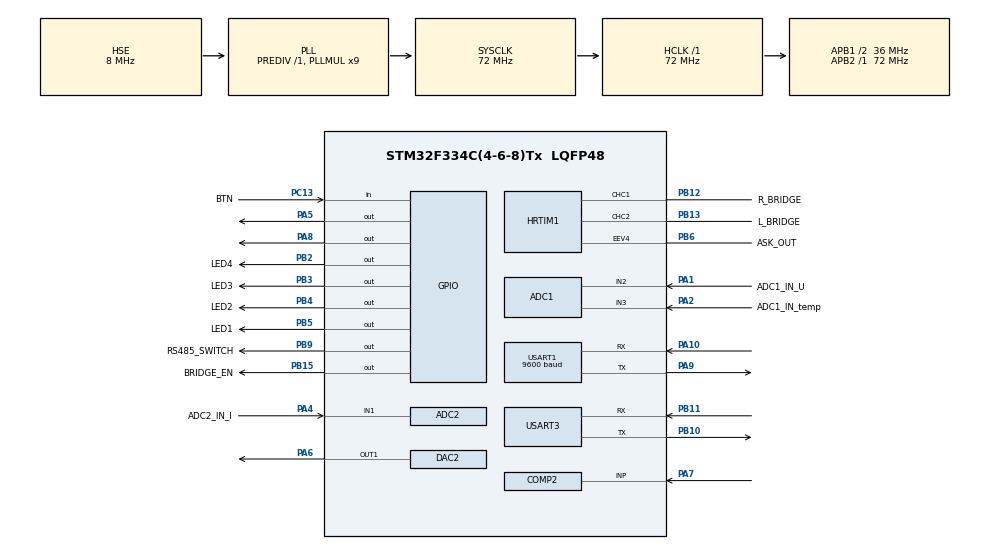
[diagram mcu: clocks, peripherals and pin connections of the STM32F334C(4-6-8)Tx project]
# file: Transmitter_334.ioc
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ADC1.Channel-0\#ChannelRegularConversion=ADC_CHANNEL_2
ADC1.Channel-1\#ChannelRegularConversion=ADC_CHANNEL_3
ADC1.ClockPrescaler=ADC_CLOCK_SYNC_PCLK_DIV1
ADC1.EnableInjectedConversion=DISABLE
ADC1.Mode=ADC_DUALMODE_REGSIMULT
ADC1.NbrOfConversion=2
ADC1.NbrOfConversionFlag=1
ADC1.Offset-0\#ChannelRegularConversion=0
ADC1.Offset-1\#ChannelRegularConversion=0
ADC1.OffsetNumber-0\#ChannelRegularConversion=ADC_OFFSET_NONE
ADC1.OffsetNumber-1\#ChannelRegularConversion=ADC_OFFSET_NONE
ADC1.Rank-0\#ChannelRegularConversion=1
ADC1.Rank-1\#ChannelRegularConversion=2
ADC1.SamplingTime-0\#ChannelRegularConversion=ADC_SAMPLETIME_7CYCLES_5
ADC1.SamplingTime-1\#ChannelRegularConversion=ADC_SAMPLETIME_7CYCLES_5
ADC1.SamplingTimeOPAMP-1\#ChannelRegularConversion=ADC_SAMPLETIME_7CYCLES_5
ADC1.SequencerNbRanks=0
ADC1.SubFamily=STM32F334x8
ADC1.master=1
ADC2.Channel-0\#ChannelRegularConversion=ADC_CHANNEL_1
ADC2.ClockPrescaler=ADC_CLOCK_SYNC_PCLK_DIV1
ADC2.EnableAnalogWatchDog1=false
ADC2.EnableInjectedConversion=DISABLE
ADC2.Mode=ADC_DUALMODE_REGSIMULT
ADC2.NbrOfConversion=1
ADC2.NbrOfConversionFlag=1
ADC2.Offset-0\#ChannelRegularConversion=0
ADC2.OffsetNumber-0\#ChannelRegularConversion=ADC_OFFSET_NONE
ADC2.Rank-0\#ChannelRegularConversion=1
ADC2.SamplingTime-0\#ChannelRegularConversion=ADC_SAMPLETIME_7CYCLES_5
ADC2.SequencerNbRanks=0
ADC2.SubFamily=STM32F334x8
COMP2.InvertingInput=COMP_INVERTINGINPUT_DAC2_CH1
COMP2.TriggerMode=COMP_TRIGGERMODE_IT_RISING
Dma.ADC1.1.Direction=DMA_PERIPH_TO_MEMORY
Dma.ADC1.1.Instance=DMA1_Channel1
Dma.ADC1.1.MemDataAlignment=DMA_MDATAALIGN_WORD
Dma.ADC1.1.MemInc=DMA_MINC_ENABLE
Dma.ADC1.1.Mode=DMA_NORMAL
Dma.ADC1.1.PeriphDataAlignment=DMA_PDATAALIGN_WORD
Dma.ADC1.1.PeriphInc=DMA_PINC_DISABLE
Dma.ADC1.1.Priority=DMA_PRIORITY_LOW
Dma.Request0=USART1_RX
Dma.Request1=ADC1
Dma.USART1_RX.0.Direction=DMA_PERIPH_TO_MEMORY
Dma.USART1_RX.0.Instance=DMA1_Channel5
Dma.USART1_RX.0.MemDataAlignment=DMA_MDATAALIGN_BYTE
Dma.USART1_RX.0.MemInc=DMA_MINC_ENABLE
Dma.USART1_RX.0.Mode=DMA_CIRCULAR
Dma.USART1_RX.0.PeriphDataAlignment=DMA_PDATAALIGN_BYTE
Dma.USART1_RX.0.PeriphInc=DMA_PINC_DISABLE
Dma.USART1_RX.0.Priority=DMA_PRIORITY_LOW
HRTIM1.CalibrationRate_nonIT=HRTIM_SINGLE_CALIBRATION
HRTIM1.CaptureUnit1-No_output_TA=HRTIM_CAPTUREUNIT_1
HRTIM1.CompareUnit1-Output_TC1TC2=HRTIM_COMPAREUNIT_1
HRTIM1.Event_EEV1=__NULL
HRTIM1.Event_EEV2=__NULL
HRTIM1.Event_EEV3=__NULL
HRTIM1.Event_EEV5=__NULL
HRTIM1.Event_EEV6=__NULL
HRTIM1.HalfModeEnable-Output_TC1TC2=HRTIM_HALFMODE_ENABLED
HRTIM1.InterruptRequests1-No_output_TA=HRTIM_TIM_IT_CPT1
HRTIM1.InterruptRequests1-Output_TC1TC2=HRTIM_TIM_IT_UPD
HRTIM1.ModeTimeBase-No_output_TA=HRTIM_MODE_CONTINUOUS
HRTIM1.NumberInterruptRequests-No_output_TA=1
HRTIM1.NumberInterruptRequests-Output_TC1TC2=1
HRTIM1.NumberResetSource1-Output_TC1TC2=1
HRTIM1.NumberResetSource2_TC=1
HRTIM1.NumberResetTrigger-No_output_TA=1
HRTIM1.NumberResetTrigger-Output_TC1TC2=1
HRTIM1.NumberSetSource1-Output_TC1TC2=1
HRTIM1.NumberSetSource2_TC=1
HRTIM1.NumberTriggerSource_Captureconfig1-No_output_TA=1
HRTIM1.Periode_TC=0x7000
HRTIM1.Polarity2-Output_TC1TC2=HRTIM_OUTPUTPOLARITY_LOW
HRTIM1.PreloadEnable-Output_TC1TC2=HRTIM_PRELOAD_ENABLED
HRTIM1.PrescalerRatio_TA=HRTIM_PRESCALERRATIO_DIV4
HRTIM1.PrescalerRatio_TC=HRTIM_PRESCALERRATIO_MUL32
HRTIM1.RepetitionCounter-Output_TC1TC2=255
HRTIM1.RepetitionUpdate-Output_TC1TC2=HRTIM_UPDATEONREPETITION_ENABLED
HRTIM1.ResetOutput1_Source1-Output_TC1TC2=HRTIM_OUTPUTRESET_TIMPER
HRTIM1.ResetOutput2_Source1-Output_TC1TC2=HRTIM_OUTPUTRESET_TIMPER
HRTIM1.ResetTrigger1-No_output_TA=HRTIM_TIMRESETTRIGGER_EEV_4
HRTIM1.ResetTrigger1-Output_TC1TC2=HRTIM_TIMRESETTRIGGER_UPDATE
HRTIM1.Sensitivity_EEV4=HRTIM_EVENTSENSITIVITY_BOTHEDGES
HRTIM1.SetOutput1_Source1-Output_TC1TC2=HRTIM_OUTPUTSET_TIMCMP1
HRTIM1.SetOutput2_Source1-Output_TC1TC2=HRTIM_OUTPUTSET_TIMCMP1
HRTIM1.TriggerCapture1_Source1-No_output_TA=HRTIM_CAPTURETRIGGER_EEV_4
Mcu.Family=STM32F3
Mcu.Name=STM32F334C(4-6-8)Tx
Mcu.Package=LQFP48
NVIC.COMP2_IRQn=true\:0\:0\:false\:false\:true\:false\:true\:true
NVIC.DMA1_Channel1_IRQn=true\:0\:0\:false\:false\:true\:false\:true\:true
NVIC.DMA1_Channel5_IRQn=true\:0\:0\:false\:false\:true\:false\:true\:true
NVIC.HRTIM1_TIMA_IRQn=true\:1\:0\:true\:false\:true\:true\:true\:true
NVIC.HRTIM1_TIMC_IRQn=true\:0\:0\:false\:false\:true\:true\:true\:true
NVIC.PriorityGroup=NVIC_PRIORITYGROUP_4
NVIC.TIM6_DAC1_IRQn=true\:0\:0\:false\:false\:true\:true\:true\:true
NVIC.TIM7_DAC2_IRQn=true\:0\:0\:false\:false\:true\:true\:true\:true
NVIC.USART1_IRQn=true\:5\:0\:true\:false\:true\:true\:true\:true
PA1.GPIO_Label=ADC1_IN_U
PA1.Mode=IN2-Single-Ended
PA1.Signal=ADC1_IN2
PA10.GPIO_PuPd=GPIO_PULLUP
PA10.Mode=Asynchronous
PA10.Signal=USART1_RX
PA13.Mode=Serial_Wire
PA13.Signal=SYS_JTMS-SWDIO
PA14.Mode=Serial_Wire
PA14.Signal=SYS_JTCK-SWCLK
PA2.GPIO_Label=ADC1_IN_temp
PA2.Mode=IN3-Single-Ended
PA2.Signal=ADC1_IN3
PA4.GPIO_Label=ADC2_IN_I
PA4.Mode=IN1-Single-Ended
PA4.Signal=ADC2_IN1
PA5.Signal=GPIO_Output
PA6.Signal=COMP_DAC21_group
PA7.Signal=SharedAnalog_PA7
PA8.Signal=GPIO_Output
PA9.GPIO_PuPd=GPIO_PULLUP
PA9.Mode=Asynchronous
PA9.Signal=USART1_TX
PB10.GPIO_PuPd=GPIO_PULLUP
PB10.Mode=Asynchronous
PB10.Signal=USART3_TX
PB11.GPIO_PuPd=GPIO_PULLUP
PB11.Mode=Asynchronous
PB11.Signal=USART3_RX
PB12.GPIO_Label=R_BRIDGE
PB12.Mode=Output_TC1TC2
PB12.Signal=HRTIM1_CHC1
PB13.GPIO_Label=L_BRIDGE
PB13.Mode=Output_TC1TC2
PB13.Signal=HRTIM1_CHC2
PB15.GPIO_Label=BRIDGE_EN
PB15.GPIO_Speed=GPIO_SPEED_FREQ_HIGH
PB15.Signal=GPIO_Output
PB2.GPIO_Label=LED4
PB2.Signal=GPIO_Output
PB3.GPIO_Label=LED3
PB3.Signal=GPIO_Output
PB4.GPIO_Label=LED2
PB4.Signal=GPIO_Output
PB5.GPIO_Label=LED1
PB5.Signal=GPIO_Output
PB6.GPIO_Label=ASK_OUT
PB6.GPIO_PuPd=GPIO_PULLDOWN
PB6.Mode=External_Evt_enable4
PB6.Signal=HRTIM1_EEV4
PB9.GPIO_Label=RS485_SWITCH
PB9.Signal=GPIO_Output
PC13.GPIO_Label=BTN
PC13.GPIO_PuPd=GPIO_PULLUP
PC13.Signal=GPIO_Input
PF0\ /\ OSC_IN.Mode=HSE-External-Oscillator
PF0\ /\ OSC_IN.Signal=RCC_OSC_IN
PF1\ /\ OSC_OUT.Mode=HSE-External-Oscillator
PF1\ /\ OSC_OUT.Signal=RCC_OSC_OUT
ProjectManager.HeapSize=0x200
ProjectManager.StackSize=0x400
ProjectManager.TargetToolchain=MDK-ARM V5.32
RCC.AHBFreq_Value=72000000
RCC.APB1CLKDivider=RCC_HCLK_DIV2
RCC.APB1Freq_Value=36000000
RCC.APB1TimFreq_Value=72000000
RCC.APB2Freq_Value=72000000
RCC.APB2TimFreq_Value=72000000
RCC.CortexFreq_Value=72000000
RCC.HCLKFreq_Value=72000000
RCC.HRTIMSelection=RCC_HRTIM1CLK_PLLCLK
RCC.HSE_VALUE=8000000
RCC.HSI_VALUE=8000000
RCC.LSE_VALUE=32768
RCC.PLLMUL=RCC_PLL_MUL9
RCC.PLLSourceVirtual=RCC_PLLSOURCE_HSE
RCC.SYSCLKFreq_VALUE=72000000
RCC.SYSCLKSourceVirtual=RCC_SYSCLKSOURCE_PLLCLK
SH.COMP_DAC21_group.0=DAC2_OUT1,Switch_Enable_OUT1
SH.SharedAnalog_PA7.0=ADC2_IN4
SH.SharedAnalog_PA7.1=COMP2_INP,INP
TIM6.Period=240
TIM6.Prescaler=0
USART1.BaudRate=9600
USART1.OverSampling=UART_OVERSAMPLING_16
USART1.VirtualMode-Asynchronous=VM_ASYNC
USART3.VirtualMode-Asynchronous=VM_ASYNC
VP_COMP2_VS_DAC2OUT1.Mode=INM_DAC2OUT1
VP_HRTIM1_VS_hrtimMasterTimerNoOutput.Mode=MasterTimer
VP_HRTIM1_VS_hrtimTimerANoOutput.Mode=No_output_TA
VP_TIM6_VS_ClockSourceINT.Mode=Enable_Timer
board=custom

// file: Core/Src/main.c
/* USER CODE BEGIN Header */
/**
  ******************************************************************************
  * @file           : main.c
  * @brief          : Main program body
  ******************************************************************************
  * @attention
  *
  * Copyright (c) 2023 STMicroelectronics.
  * All rights reserved.
  *
  * This software is licensed under terms that can be found in the LICENSE file
  * in the root directory of this software component.
  * If no LICENSE file comes with this software, it is provided AS-IS.
  *
  ******************************************************************************
  */
/* USER CODE END Header */
#include "main.h"
#include "adc.h"
#include "comp.h"
#include "dac.h"
#include "dma.h"
#include "hrtim.h"
#include "tim.h"
#include "usart.h"
#include "gpio.h"

/* USER CODE BEGIN Includes */
#include "stdbool.h"
#include "qi_transmitter.h"
#include "stdio.h"
#include "string.h"
#include "meas.h"
#include "queue.h"
/* USER CODE END Includes */

/* USER CODE BEGIN PTD */

typedef struct {float op_frequency;float op_period;uint32_t op_period_in_ticks; uint32_t mod_period_in_ticks;bool gate_signals;}op_values;
enum OPERATION_STATES { INITIAL_STATE = 1, ANALOG_PING = 2, DIGITAL_PING = 3, COMM_ONLY_STATE = 4, RENEGO_STATE = 5, POWER_TRANSFER_STATE = 6, FAULT_STATE = 7 };

/* USER CODE END PTD */

/* USER CODE BEGIN PD */
#define HRTIM_RESOLUTION 217 //in [ps], used in ChangeFrequency
//#define TICKS_DELTA_MODULATION (uint32_t) (260000/HRTIM_RESOLUTION) //260 ns
#define TICKS_DELTA_MODULATION 375 //750//nejlip 1500//1200 //10000 //1200 //test value --> 260 ns
#define ANALOG_PING_FREQUENCY 170//192 // kHz --> freq. corresponding to the min. power level
#define DBG_MSG_SIZE 1
#define MAX_FREQUENCY 235.97//200 // 5us
#define PING_IMP_FREQUENCY 228.97
#define MIN_FREQUENCY 160.26//168
#define DAC_TRESHOLD  2900u//2680u //odpovídá 1.2 A
#define DBG_UART_MSG_SIZE 88

#define LED1 GPIO_PIN_5 //B
#define LED2 GPIO_PIN_4 //B
#define LED3 GPIO_PIN_3 //B
#define LED4 GPIO_PIN_2 //B
#define PID_ITERATIONS 5
#define T_DELAY 100
#define T_DETECT 70
#define T_REPING 1500
/* USER CODE END PD */

/* USER CODE BEGIN PV */

uint32_t hal_tick;
bool one_ms;
unsigned int test_increment;
bool new_dbg_uart_msg;
//unsigned char FSK_index;

//char DBG_UART_buffer[50];
//char DBG_UART_buffer[100];

//ADC
uint8_t MEAS_ACD1_update;
//extern float adcf[MEAS_ADC1_CHANNELS];  //---------------------ZBYTECNE
//uint8_t ubAnalogWatchdogStatus = RESET;
measured_values act_vals;
//DAC
bool comp_treshold = false;
//test adc
bool run_test = false;
//mereni
//float current_values[NUMBER_OF_MES];  //---------------------ZBYTECNE
//analog ping
bool analog_ping_done = false;
char analog_ping_counter = 0;
bool analog_ping_measure = false;
//char analog_ping_counter = 0;
float K_p=9.;//37.;
float K_i=3.; //6.;
float K_d=0;
uint8_t current_ASK_msg_size=3; //minimal size
uint8_t ASK_msg_position=0;
uint16_t ASK_byte_main;
uint8_t error_type=0;
bool FSK_interrupt=false;
bool new_FSK=false;
uint16_t FSK_size;
bool serialized_data_FSK[MAX_DATA_PACKET_SIZE_FSK];
uint8_t last_message=0;
/* USER CODE END PV */

void SystemClock_Config(void);
/* USER CODE BEGIN PFP */
static void ChangeOPFrequency(float frequency,op_values *current_op); // function that changes the frequency of HRTIM output
static void StartInverter(op_values *current_op);
static void StopInverter(op_values *current_op);
void ModulateFrequency(op_values *current_op);
void AnalogPing(op_values *current_op);
void StartDemodulator(void);
//float regulatePower(uint8_t u_control_error,op_values *current_op);
/* USER CODE END PFP */

/* USER CODE BEGIN 0 */
uint8_t Rx_data[1];
void HAL_UART_RxHalfCpltCallback(UART_HandleTypeDef *huart)
{
 // HAL_GPIO_TogglePin (GPIOB, GPIO_PIN_3);  // toggle PA0
}
void HAL_UART_RxCpltCallback(UART_HandleTypeDef *huart)
{
  HAL_UART_Receive_DMA(&huart1, Rx_data, DBG_MSG_SIZE);
	new_dbg_uart_msg=true;
}
void HAL_ADC_ConvCpltCallback(ADC_HandleTypeDef* hadc);
void HAL_ADC_ConvHalfCpltCallback(ADC_HandleTypeDef* hadc);

void HAL_TIM_PeriodElapsedCallback(TIM_HandleTypeDef *htim)
{
  if (htim->Instance == TIM6 && analog_ping_measure)
  {
    // Toggle LED
    if (analog_ping_counter==1)
		{
			//HAL_GPIO_TogglePin(GPIOB,GPIO_PIN_9);
			MEAS_ADC_start(5u,0);

			//HAL_TIM_Base_Stop_IT(&htim6);

		} else if (analog_ping_counter==14){
			analog_ping_done=true;
			//HAL_GPIO_TogglePin(GPIOB,GPIO_PIN_9);
			HAL_GPIO_WritePin(GPIOB,GPIO_PIN_15,GPIO_PIN_RESET);
			HAL_TIM_Base_Stop_IT(&htim6);
			//HAL_GPIO_TogglePin(GPIOA,GPIO_PIN_5);
			analog_ping_measure=false;
		}
		analog_ping_counter++;

  }
}
//void HAL_TIM_Base_Start_IT()
/* USER CODE END 0 */

int main(void)
{

  /* MCU Configuration--------------------------------------------------------*/

  /* Reset of all peripherals, Initializes the Flash interface and the Systick. */
  HAL_Init();

  /* Configure the system clock */
  SystemClock_Config();

  /* Initialize all configured peripherals */
  MX_GPIO_Init();
  MX_DMA_Init();
  MX_HRTIM1_Init();
  MX_ADC1_Init();
  MX_ADC2_Init();
  MX_DAC2_Init();
  MX_USART1_UART_Init();
  MX_USART3_UART_Init();
  MX_COMP2_Init();
  MX_TIM6_Init();
  /* USER CODE BEGIN 2 */
	op_values current_op;
	//DAC
	//HAL_DAC_Start(&hdac2, DAC_CHANNEL_1); //HAZELO TO FURT ERRORY
	//HAL_DAC_SetValue(&hdac2, DAC_CHANNEL_1, DAC_ALIGN_12B_R,DAC_TRESHOLD); //HAZELO TO FURT ERRORY
  /* USER CODE END 2 */

  /* Infinite loop */
  /* USER CODE BEGIN WHILE */
	/* Start the SYSTICK variable*/
	//hal_tick = HAL_GetTick();
	test_increment=0;
	one_ms=true;
	unsigned int number_of_ms=0;
	bool button = false;
	char button_increment=0;
	new_dbg_uart_msg = false;
	HAL_UART_Receive_DMA (&huart1, Rx_data, DBG_MSG_SIZE);  // Receive 4 Bytes of data
	ChangeOPFrequency((float)222.29,&current_op); // set the Operating state to minimal power with PING IMPEDANCE connected
	//ADC
	HAL_ADCEx_Calibration_Start(&hadc1,ADC_SINGLE_ENDED);
	HAL_ADCEx_Calibration_Start(&hadc2,ADC_SINGLE_ENDED);
	HAL_Delay(10);
	MEAS_ADC_start(1,2); // start the ADC conversion
	//DAC
	//mereni
	unsigned int meas_increment = 0;
	float sum_current = 0.;
	//HAL_COMP_Start_IT(&hcomp2); ////HAZELO TO FURT ERRORY
	//timer pro analog ping
	HAL_TIM_Base_Init(&htim6);

	//TEST BEZ UARTU
	StartInverter(&current_op);
	HAL_Delay(10);
	HAL_GPIO_WritePin(GPIOB,GPIO_PIN_15,GPIO_PIN_RESET);
	//KONEC TESTU
	//ASK modulace
	HAL_HRTIM_WaveformCountStart(&hhrtim1, HRTIM_TIMERID_TIMER_A);
	HAL_HRTIM_WaveformCountStart_IT(&hhrtim1, HRTIM_TIMERID_TIMER_A);
	extern bool ASK_error;
	extern bool ASK_byte_done;
	DecodedDataPacket ASK_packet;
	//HAL_GPIO_WritePin(GPIOA,GPIO_PIN_5,GPIO_PIN_SET); //debug
	char DBG_UART_buffer[DBG_UART_MSG_SIZE];
	//char DBG_UART_buffer2[30];
	//debug
	uint8_t test_byte_ASK;
	bool ASK_msg_done=false;
	//pid
	bool pid_enable;
	uint8_t pid_iteration=0;
	int8_t s_control_error; //signed value
	float td_j; //calculated new current throufh primary cell
	float e_ji; //error of regulation
	float e_ji_prev;
	float i_sum;
	float i_sum_prev;
	uint8_t error_code=0;
	//float pid;
	float new_freq;
	float e_i[PID_ITERATIONS];
	extern bool preamble_done;
	extern uint8_t preamble_ones;
	uint8_t byte_counter=0;
	uint16_t bytes[3]={0,0,0};

	bool first_half_FSK=true;
	bool* FSK_byte;
	uint8_t FSK_index = 0;
	bool ce_timeout=false;
	uint8_t current_state=INITIAL_STATE;
	uint16_t ping_timeout=0;
	uint8_t test_FSK_byte=0;
	Queue FSK_Queue;
	DataPacketFSK data_packet_FSK;
	data_packet_FSK.message_length=1;
	queue_init(&FSK_Queue);
	uint16_t ack_timeout = 0;
	bool expecting_ack=false;
	bool user_data_input=false;
	bool print_ce=false;
	bool no_mute=true;
	bool repeating_msg=false;
	//unsigned char test_byte=0x01;
	//test
	//ASK_byte=
	//error_type=demodulateAskByte(ASK_byte,ASK_packet,ASK_msg_position);

  while (1){
    /* USER CODE END WHILE */

    /* USER CODE BEGIN 3 */
		if (FSK_interrupt){
			//ModulateFrequency(&current_op);
			if (first_half_FSK){
				ModulateFrequency(&current_op);
			}else{
				if (serialized_data_FSK[FSK_index]){
					ModulateFrequency(&current_op);
				}
				if (FSK_index>=FSK_size){
					FSK_index=0;
					new_FSK=false;
				} else{
					FSK_index++;
				}
			}
			first_half_FSK=!first_half_FSK;
			FSK_interrupt=false;
		}
		if (analog_ping_done){
				analog_ping_done=false;
				//HAL_Delay(1);
				if (act_vals.current>0.1){ // change the value
					//receiver_detected
					current_state=DIGITAL_PING;
					ChangeOPFrequency((float)PING_IMP_FREQUENCY,&current_op);
					ping_timeout=0;
					HAL_Delay(50);
					sprintf(DBG_UART_buffer,"R detected\r\n");
					HAL_UART_Transmit_IT(&huart1, (uint8_t *)DBG_UART_buffer, strlen(DBG_UART_buffer));
					StartInverter(&current_op);
					HAL_GPIO_WritePin(GPIOB,GPIO_PIN_15,GPIO_PIN_SET);
					number_of_ms=0;
				} else {
					ping_timeout=0;
					sprintf(DBG_UART_buffer,"R not detected.\r\n");
					HAL_UART_Transmit_IT(&huart1, (uint8_t *)DBG_UART_buffer, strlen(DBG_UART_buffer));

				}
		}
		if (comp_treshold){
			HAL_GPIO_WritePin(GPIOB,GPIO_PIN_15,GPIO_PIN_RESET);
			comp_treshold=false;
			error_code=0x05;

			current_state=ANALOG_PING;
			HAL_Delay(20);
			sprintf(DBG_UART_buffer,"Overcurrent! Switching off!\r\n");
			HAL_UART_Transmit_IT(&huart1, (uint8_t *)DBG_UART_buffer, strlen(DBG_UART_buffer));
			HAL_Delay(30);

		}
		if (ASK_byte_done){
			ASK_byte_done=false;
			error_type=demodulateAskByte(ASK_byte_main,&ASK_packet,ASK_msg_position);
			//HAL_GPIO_TogglePin(GPIOB,GPIO_PIN_9);
			if (ASK_msg_position==3){//current_ASK_msg_size){ //length of CE data packet
				ASK_msg_position=0;
				ASK_msg_done=true;
			}
			if (error_type==0){ //no error
				/*if (ASK_msg_position==1){
					current_ASK_msg_size=1+ASK_packet.message_length+1;
				}*/
			} else{
				ASK_error=true;
			}
			if (ASK_msg_done){
				if (error_type!=0){
					if (ASK_packet.header!=0x03){
						sprintf(DBG_UART_buffer,"H:%u\r\nM:%u\r\nEM:%d\r\n",ASK_packet.header,ASK_packet.message[0],error_type);
						HAL_UART_Transmit_IT(&huart1, (uint8_t *)DBG_UART_buffer, strlen(DBG_UART_buffer));
						}
					//HAL_Delay(50);
				} else{
					//sprintf(DBG_UART_buffer,"H:%u\r\nM:%u\r\n",ASK_packet.header,ASK_packet.message[0]);
					//HAL_UART_Transmit_IT(&huart1, (uint8_t *)DBG_UART_buffer, strlen(DBG_UART_buffer));
					//HAL_Delay(50);
				}
				//PID
				if (ASK_packet.header==0x04){ //RP packet
					if (!queue_is_empty(&FSK_Queue)){
						serialize_response_pattern(0b11001100,serialized_data_FSK); //ATN
						FSK_size=8;
						sprintf(DBG_UART_buffer,"sending ATN\r\n");
						HAL_UART_Transmit_IT(&huart1, (uint8_t *)DBG_UART_buffer, strlen(DBG_UART_buffer));
						HAL_Delay(1);
						new_FSK=true;
					} else {
						serialize_response_pattern(0b11111111,serialized_data_FSK); //ACK
						FSK_size=8;
						if (no_mute){
						sprintf(DBG_UART_buffer,"RP received. Sending ACK\r\n");
						HAL_UART_Transmit_IT(&huart1, (uint8_t *)DBG_UART_buffer, strlen(DBG_UART_buffer));
						}
						HAL_Delay(1);
						new_FSK=true;

					}
				} else if (ASK_packet.header==0x15){ //incomming data
						if (ASK_packet.message[0]==0x33){
							if (queue_dequeue(&FSK_Queue,&data_packet_FSK)){
								serialize_data_packet(data_packet_FSK,serialized_data_FSK);
								FSK_size=get_data_packet_size(data_packet_FSK);
								sprintf(DBG_UART_buffer,"DSR: poll -> sending user data %u\r\n", test_FSK_byte);
								HAL_UART_Transmit_IT(&huart1, (uint8_t *)DBG_UART_buffer, strlen(DBG_UART_buffer));
								HAL_Delay(1);
								ack_timeout=0;
								expecting_ack=true;
								new_FSK=true;
							}
						} else if (ASK_packet.message[0]==0xFF){
								sprintf(DBG_UART_buffer,"DSR: ack -> Receiver received the data.\r\n");
								HAL_UART_Transmit_IT(&huart1, (uint8_t *)DBG_UART_buffer, strlen(DBG_UART_buffer));
								ack_timeout=0;
								expecting_ack=false;
								repeating_msg=false;
								HAL_Delay(1);
						} else if (ASK_packet.message[0]==0x00){
								sprintf(DBG_UART_buffer,"DSR: nak -> repeating msg.\r\n");
								if (repeating_msg){
								sprintf(DBG_UART_buffer,"DSR: nak -> Receiver not acknowledged. User data enqued.\r\n");
								ack_timeout=0;
								if (queue_enqueue(&FSK_Queue, data_packet_FSK)){
								} else{
								sprintf(DBG_UART_buffer,"QUEUE FULL\r\n");
								}
								repeating_msg=true;
								}
								HAL_UART_Transmit_IT(&huart1, (uint8_t *)DBG_UART_buffer, strlen(DBG_UART_buffer));
								HAL_Delay(1);
						}
						else {
								sprintf(DBG_UART_buffer,"DSR: msg not recognized.\r\n");
								HAL_UART_Transmit_IT(&huart1, (uint8_t *)DBG_UART_buffer, strlen(DBG_UART_buffer));
								HAL_Delay(1);
						}
				}
				else if (ASK_packet.header==0x03){
					if (print_ce){
						sprintf(DBG_UART_buffer,"CE: %u.\r\n",ASK_packet.message[0]);
						HAL_UART_Transmit_IT(&huart1, (uint8_t *)DBG_UART_buffer, strlen(DBG_UART_buffer));
					}
					if (ASK_packet.message[0]!=0){ //if CE is not 0 do the regulation process
						if (pid_enable){
							e_ji_prev=0;
							i_sum_prev=0;
							//Now check if MSB is set to 1 which means that the value is negative
							if (ASK_packet.message[0] & 0x80) { // check if MSB is set
							  s_control_error = (int8_t)ASK_packet.message[0]| 0xFFFFFF00; // set higher-order bits to 1
							} else {
							  s_control_error = (int8_t)ASK_packet.message[0]; // sign extend is not needed if MSB is not set
							}
							pid_iteration=PID_ITERATIONS;

						}
					}
					number_of_ms=0;
				} else if(ASK_packet.header==0x02){ //EPT
					if (ASK_packet.message[0]==0x01){//cc charge complete
						current_state=COMM_ONLY_STATE;
						sprintf(DBG_UART_buffer,"EPT/cc received. PT>CS\r\n");
						pid_enable=false;
						ChangeOPFrequency((float)PING_IMP_FREQUENCY,&current_op);
					}else if(ASK_packet.message[0]==0x0C){
						sprintf(DBG_UART_buffer,"EPT/rep. Switching to AP.\r\n");
						current_state=ANALOG_PING;
						ping_timeout=0;
						pid_enable=false;
					}
					else{
						HAL_GPIO_WritePin(GPIOB,GPIO_PIN_15,GPIO_PIN_RESET);
						sprintf(DBG_UART_buffer,"EPT received! Switching off!\r\n");
						current_state=INITIAL_STATE; //should be fault state
					}

					HAL_UART_Transmit_IT(&huart1, (uint8_t *)DBG_UART_buffer, strlen(DBG_UART_buffer));
					HAL_Delay(20);
				} else if(ASK_packet.header==0x01){ //SIG
						current_state=COMM_ONLY_STATE;
						HAL_Delay(10);
						sprintf(DBG_UART_buffer,"Comm. ready\r\n");
						HAL_UART_Transmit_IT(&huart1, (uint8_t *)DBG_UART_buffer, strlen(DBG_UART_buffer));

					//HAL_Delay(20);
					//todo:osetreni timeoutu
					//todo:zpracovani hodnoty
				}else if(ASK_packet.header==0x20){ //SRQ/en
					if (current_state!=FAULT_STATE){
						sprintf(DBG_UART_buffer,"SRQ/en received. Sending ACK. CS->PT.\r\n");
						if (current_state!=POWER_TRANSFER_STATE){
							pid_enable=true;
							current_state=POWER_TRANSFER_STATE;
							serialize_response_pattern(0b11111111,serialized_data_FSK); //ACK
							FSK_size=8;
							HAL_UART_Transmit_IT(&huart1, (uint8_t *)DBG_UART_buffer, strlen(DBG_UART_buffer));
							HAL_Delay(1);
							new_FSK=true;
							}
					} else{
						sprintf(DBG_UART_buffer,"SRQ/en received. RESOLVE the fault first.\r\n");
						HAL_UART_Transmit_IT(&huart1, (uint8_t *)DBG_UART_buffer, strlen(DBG_UART_buffer));
					}
					number_of_ms=0;
					HAL_UART_Transmit_IT(&huart1, (uint8_t *)DBG_UART_buffer, strlen(DBG_UART_buffer));
				} else if(ASK_packet.header==0x18){ //PROP... USER DATA EXAMPLE
					sprintf(DBG_UART_buffer,"User data from Receiver: %c Sending ACK.\r\n",ASK_packet.message[0]);
					HAL_UART_Transmit_IT(&huart1, (uint8_t *)DBG_UART_buffer, strlen(DBG_UART_buffer));
					serialize_response_pattern(0b11111111,serialized_data_FSK); //ACK
					FSK_size=8;
					HAL_Delay(1);
					new_FSK=true;
				}
				else{
					sprintf(DBG_UART_buffer,"%u header\r\n",ASK_packet.header);
					HAL_UART_Transmit_IT(&huart1, (uint8_t *)DBG_UART_buffer, strlen(DBG_UART_buffer));
					HAL_Delay(20);
				}
				ASK_msg_done=false;
			}
		}
		if (ASK_error){
				preamble_done=false;
				preamble_ones=0;
				ASK_error=false;
				ASK_msg_position=0;
				ASK_packet.header=0;
				ASK_packet.message[0]=0;
				//sprintf(DBG_UART_buffer,"E:%d\r\n",error_type);
				//HAL_UART_Transmit_IT(&huart1, (uint8_t *)DBG_UART_buffer, strlen(DBG_UART_buffer));
				error_type=0;
		}
		/* Has 1 ms passed since the last time? */
		if (one_ms){
			if (expecting_ack){
				ack_timeout++;
				if (ack_timeout>1000){
				ack_timeout=0;
				if (!repeating_msg){
				repeating_msg=true;
				ack_timeout=0;
				if (queue_enqueue(&FSK_Queue, data_packet_FSK)){
					sprintf(DBG_UART_buffer,"Timeout-Receiver not acknowledged. User data enqued.\r\n");
				} else{
					sprintf(DBG_UART_buffer,"QUEUE FULL\r\n");
					}
					HAL_UART_Transmit_IT(&huart1, (uint8_t *)DBG_UART_buffer, strlen(DBG_UART_buffer));
				}
				}
			}
			if (current_state==DIGITAL_PING){
				ping_timeout++;
				if (ping_timeout==300){
					HAL_GPIO_WritePin(GPIOB,GPIO_PIN_15,GPIO_PIN_RESET);
				} else if (ping_timeout>=1500){
					current_state=ANALOG_PING;
					ping_timeout=0;
				}
			} else if (current_state==ANALOG_PING){
				ping_timeout++;
				if (ping_timeout>=500){
					AnalogPing(&current_op);
					analog_ping_measure=true;
					ping_timeout=0;
				}
			}
			if (number_of_ms%200){
				if (current_state==FAULT_STATE){
					sprintf(DBG_UART_buffer,"Error: %u. Resolve the error with 'e'.\r\n",error_code);
					HAL_UART_Transmit_IT(&huart1, (uint8_t *)DBG_UART_buffer, strlen(DBG_UART_buffer));
				}
			}
			if ((number_of_ms%4)&&(number_of_ms>T_DELAY)){
				if (pid_iteration!=0&&pid_enable){
					MEAS_ADC_start(20,0);
					while (!MEAS_ACD1_update){}
					MEAS_ACD1_update=0;
					if (pid_iteration==PID_ITERATIONS){
						//i_pred=act_vals.current;
						td_j=act_vals.current*(1.+((float)s_control_error)/128.);
						//sprintf(DBG_UART_buffer,"CE received\r\n");
						//HAL_UART_Transmit_IT(&huart1, (uint8_t *)DBG_UART_buffer, strlen(DBG_UART_buffer));
						//ta_ji_prev=act_vals.current;
					}
					e_ji=td_j-act_vals.current;
					i_sum=i_sum_prev+K_i*e_ji*0.004;//4 ms
					new_freq=current_op.op_frequency-(K_p*e_ji+i_sum+K_d*(e_ji-e_ji_prev)/0.004);
					i_sum_prev=i_sum;
					e_ji_prev=e_ji;
					//sprintf(DBG_UART_buffer,"freq:%f\r\nnew_freq:%f\r\ne_ji:%f\r\n",current_op.op_frequency,new_freq,e_ji);
					//HAL_UART_Transmit_IT(&huart1, (uint8_t *)DBG_UART_buffer, strlen(DBG_UART_buffer));
					//HAL_Delay(200);
					ChangeOPFrequency(new_freq,&current_op);
					HAL_GPIO_TogglePin(GPIOB,GPIO_PIN_9);
					e_i[PID_ITERATIONS-pid_iteration]=e_ji;
					pid_iteration--;
					if (pid_iteration==0){
						//HAL_Delay(10);
						MEAS_ADC_start(20,0);
						//while (!MEAS_ACD1_update){}
						//MEAS_ACD1_update=0;
						//HAL_Delay(100);
						//sprintf(DBG_UART_buffer,"CE:%d\r\ne1:%f\r\ne2:%f\r\ne3:%f\r\ne4:%f\r\ne5:%f\r\nIN:%f\r\n\r\n",s_control_error,e_i[0],e_i[1],e_i[2],e_i[3],e_i[4],act_vals.current);
						//HAL_UART_Transmit_IT(&huart1, (uint8_t *)DBG_UART_buffer, strlen(DBG_UART_buffer));
					}
					//sprintf(DBG_UART_buffer,"e_ji:%f\r\n",e_ji);

				}
			}
			button = !HAL_GPIO_ReadPin(GPIOC,GPIO_PIN_13);
			if ((number_of_ms%MES_INTERVAL)==0&&pid_iteration==0){
				while (!MEAS_ACD1_update){}
				MEAS_ACD1_update=0;
				/*if (act_vals.current<0.05&&(current_state == COMM_ONLY_STATE)){ //puv 0.08
					error_code=1;
					HAL_GPIO_WritePin(GPIOB,GPIO_PIN_15,GPIO_PIN_RESET);
					current_state=FAULT_STATE;
					HAL_Delay(20);
					sprintf(DBG_UART_buffer,"Rec not present! Switching off!\r\n");
					HAL_UART_Transmit_IT(&huart1, (uint8_t *)DBG_UART_buffer, strlen(DBG_UART_buffer));
					HAL_Delay(30);
				}
				*/
				if (act_vals.current>1.35){
					HAL_GPIO_WritePin(GPIOB,GPIO_PIN_15,GPIO_PIN_RESET);
					comp_treshold=false;
					error_code=0x06;
					current_state=INITIAL_STATE;

					modulateFskByte(data_packet_FSK.header, 0x16); //ADT 1 byte
					modulateFskByte(data_packet_FSK.message[0],1); //test value
					modulateFskByte(data_packet_FSK.checksum,calculateCheckSum(data_packet_FSK));
					if (queue_enqueue(&FSK_Queue, data_packet_FSK)){
						sprintf(DBG_UART_buffer,"\r\nUser data enqued: %c\r\n",Rx_data[0]);
					} else{
						sprintf(DBG_UART_buffer,"QUEUE FULL\r\n");
					}

					HAL_Delay(20);
					sprintf(DBG_UART_buffer,"Overcurrent! Switching off!\r\n");
					HAL_UART_Transmit_IT(&huart1, (uint8_t *)DBG_UART_buffer, strlen(DBG_UART_buffer));
					HAL_Delay(30);
				}
				MEAS_ADC_start(10,1);
			}
			if (number_of_ms%1000){
				/*if (run_test){
					sprintf(DBG_UART_buffer,"I:%fA\r\nU:%fV\r\nP:%fW\r\n\r\n",act_vals.current,act_vals.voltage,act_vals.power);
					HAL_UART_Transmit_IT(&huart1, (uint8_t *)DBG_UART_buffer, strlen(DBG_UART_buffer));
				}*/
			}
			if (number_of_ms>=3000){
				number_of_ms=0;
				if (run_test){ //normalne nikdy neprobehne !!!
					sprintf(DBG_UART_buffer,"I:%fA\r\nU:%fV\r\nP:%fW\r\n\r\n",act_vals.current,act_vals.voltage,act_vals.power);
					HAL_UART_Transmit_IT(&huart1, (uint8_t *)DBG_UART_buffer, strlen(DBG_UART_buffer));
				}
				if (pid_enable&&current_state==POWER_TRANSFER_STATE){
					//ce_timeout dodelat
					HAL_GPIO_WritePin(GPIOB,GPIO_PIN_15,GPIO_PIN_RESET);
					ChangeOPFrequency((float)PING_IMP_FREQUENCY,&current_op); //back to ping impedance
					sprintf(DBG_UART_buffer,"No CE packet. Switching off.\r\n\r\n");
					HAL_UART_Transmit_IT(&huart1, (uint8_t *)DBG_UART_buffer, strlen(DBG_UART_buffer));
					HAL_Delay(20);
					ce_timeout=true;
					pid_enable=false;
					current_state=ANALOG_PING;
					HAL_Delay(500);
					AnalogPing(&current_op);
					analog_ping_measure=true;
					//current_state=INITIAL_STATE;
				}
			}
			//zmena na EUROC -> Transmitter se bude pokoušet porád o spojení
			if (current_state==INITIAL_STATE){
						sprintf(DBG_UART_buffer,"AP initiated.\r\n");
						current_state=ANALOG_PING;
						AnalogPing(&current_op);
						analog_ping_measure=true;
						}
			one_ms=false;
			number_of_ms++;

			//processDBGUART();
		if (new_dbg_uart_msg){
			new_dbg_uart_msg=false;
				if (user_data_input){
					//test_FSK_byte++;
					modulateFskByte(data_packet_FSK.header, 0x16); //ADT 1 byte
					modulateFskByte(data_packet_FSK.message[0],Rx_data[0]); //test value
					modulateFskByte(data_packet_FSK.checksum,calculateCheckSum(data_packet_FSK));
					if (queue_enqueue(&FSK_Queue, data_packet_FSK)){
						sprintf(DBG_UART_buffer,"\r\nUser data enqued: %c\r\n",Rx_data[0]);
					} else{
						sprintf(DBG_UART_buffer,"QUEUE FULL\r\n");
					}
						user_data_input=false;
				} else{
			switch (Rx_data[0])
			{
				case 'c':
					sprintf(DBG_UART_buffer,"Incomming CE packets will be printed.\r\n");
					print_ce=true;
					break;
				case 'C':
					sprintf(DBG_UART_buffer,"Incomming CE packets will not be printed.\r\n");
					print_ce=false;
					break;
				case '+':
					ChangeOPFrequency(current_op.op_frequency+0.01,&current_op);
					sprintf(DBG_UART_buffer,"Frequency set to: %f\r\n\r\n",current_op.op_frequency);
					break;
				case '-':
					ChangeOPFrequency(current_op.op_frequency-0.01,&current_op);
					sprintf(DBG_UART_buffer,"Frequency set to: %f\r\n\r\n",current_op.op_frequency);
					break;
				case '.':
					ChangeOPFrequency(current_op.op_frequency+0.5,&current_op);
					sprintf(DBG_UART_buffer,"Frequency set to: %f\r\n\r\n",current_op.op_frequency);
					break;
				case ',':
					ChangeOPFrequency(current_op.op_frequency-0.5,&current_op);
					sprintf(DBG_UART_buffer,"Frequency set to: %f\r\n\r\n",current_op.op_frequency);
					break;
				case 'r':
					StartInverter(&current_op);
					sprintf(DBG_UART_buffer,"Switching signals restored!\r\n\r\n");
					break;
				case 's':
					StopInverter(&current_op);
					sprintf(DBG_UART_buffer,"Switching signals stopped!\r\n\r\n");
					break;
				case 'l':
					HAL_GPIO_TogglePin(GPIOB,LED3);
					sprintf(DBG_UART_buffer,"LED3 Toggled!\r\n\r\n");
					break;
				case '0':
					HAL_GPIO_WritePin(GPIOB,GPIO_PIN_15,GPIO_PIN_RESET);
					current_state=INITIAL_STATE;
					sprintf(DBG_UART_buffer,"Drivers output disabled!\r\n\r\n");
					break;
				case '1':
					if (current_op.gate_signals){
						HAL_GPIO_WritePin(GPIOB,GPIO_PIN_15,GPIO_PIN_SET);
						sprintf(DBG_UART_buffer,"Drivers output enabled!\r\n\r\n");
						}
					else{
						sprintf(DBG_UART_buffer,"No switching signals to gate!\r\n\r\n");
						}
					break;
				case 'e':
						sprintf(DBG_UART_buffer,"Fault resolved.\r\n");
						current_state=INITIAL_STATE;
						error_code=0;
						break;
				case 'a':
					if (current_state==INITIAL_STATE){
						sprintf(DBG_UART_buffer,"AP initiated.\r\n");
						current_state=ANALOG_PING;
						AnalogPing(&current_op);
						analog_ping_measure=true;
					}else{
						sprintf(DBG_UART_buffer,"AP ended.\r\n");
						current_state=INITIAL_STATE;
						HAL_GPIO_WritePin(GPIOB,GPIO_PIN_15,GPIO_PIN_RESET);
						HAL_Delay(20);
					}
					break;
				case 'm':
					no_mute=!no_mute;
					sprintf(DBG_UART_buffer,"MSGs (un)muted!\r\n");
					break;

				case 'v':
					//MEAS_ADC_start(50,1);
					//while (!MEAS_ACD1_update){}
					//MEAS_ACD1_update=0;
					sprintf(DBG_UART_buffer,"current: %f A\r\nVoltage: %f V\r\n\r\n",act_vals.current,act_vals.voltage);
					break;
				case 't':
					run_test=!run_test;
					MEAS_ADC_start(10,1);
					if (run_test)sprintf(DBG_UART_buffer,"Test started. Sending data:\r\n\r\n");
					else sprintf(DBG_UART_buffer,"End of test.\r\n\r\n");
					break;
				case 'P':
					sprintf(DBG_UART_buffer,"PID enabled\r\n");
					pid_enable=true;
					break;
				case 'p':
					sprintf(DBG_UART_buffer,"PID disabled\r\n");
					pid_enable=false;
					break;
				case 'K':
					K_p+=1;
					sprintf(DBG_UART_buffer,"Kp:%f\r\n",K_p);
					break;
				case 'k':
					K_p-=1;
					sprintf(DBG_UART_buffer,"Kp:%f\r\n",K_p);
					break;
				case 'I':
					K_i+=1;
					sprintf(DBG_UART_buffer,"Ki:%f\r\n",K_i);
					break;
				case 'i':
					K_i-=1;
					sprintf(DBG_UART_buffer,"Ki:%f\r\n",K_i);
					break;
				case 'D':
					K_d+=0.1;
					sprintf(DBG_UART_buffer,"Kd:%f\r\n",K_d);
					break;
				case 'd':
					K_d-=0.1;
					sprintf(DBG_UART_buffer,"Kd:%f\r\n",K_d);
					break;
				case 'F':
					//FSK_byte = modulateFskByte(test_FSK_byte);
					test_FSK_byte++;
					new_FSK=true;
					sprintf(DBG_UART_buffer,"FSK_true");
					break;
				case 'f':
					new_FSK=false;
					sprintf(DBG_UART_buffer,"FSK_false");
					break;
				case 'q': //ATN nejdriv ale - user data
					sprintf(DBG_UART_buffer,"ENTER user data: ");
					user_data_input=true;
					break;
				default:
					sprintf(DBG_UART_buffer,"Invalid char!\r\n\r\n");
					break;

			}
			}
			HAL_UART_Transmit_IT(&huart1, (uint8_t *)DBG_UART_buffer, strlen(DBG_UART_buffer));
		}
		}
  }
  /* USER CODE END 3 */
}

void SystemClock_Config(void)
{
  RCC_OscInitTypeDef RCC_OscInitStruct = {0};
  RCC_ClkInitTypeDef RCC_ClkInitStruct = {0};
  RCC_PeriphCLKInitTypeDef PeriphClkInit = {0};

  /** Initializes the RCC Oscillators according to the specified parameters
  * in the RCC_OscInitTypeDef structure.
  */
  RCC_OscInitStruct.OscillatorType = RCC_OSCILLATORTYPE_HSE;
  RCC_OscInitStruct.HSEState = RCC_HSE_ON;
  RCC_OscInitStruct.HSEPredivValue = RCC_HSE_PREDIV_DIV1;
  RCC_OscInitStruct.HSIState = RCC_HSI_ON;
  RCC_OscInitStruct.PLL.PLLState = RCC_PLL_ON;
  RCC_OscInitStruct.PLL.PLLSource = RCC_PLLSOURCE_HSE;
  RCC_OscInitStruct.PLL.PLLMUL = RCC_PLL_MUL9;
  if (HAL_RCC_OscConfig(&RCC_OscInitStruct) != HAL_OK)
  {
    Error_Handler();
  }

  /** Initializes the CPU, AHB and APB buses clocks
  */
  RCC_ClkInitStruct.ClockType = RCC_CLOCKTYPE_HCLK|RCC_CLOCKTYPE_SYSCLK
                              |RCC_CLOCKTYPE_PCLK1|RCC_CLOCKTYPE_PCLK2;
  RCC_ClkInitStruct.SYSCLKSource = RCC_SYSCLKSOURCE_PLLCLK;
  RCC_ClkInitStruct.AHBCLKDivider = RCC_SYSCLK_DIV1;
  RCC_ClkInitStruct.APB1CLKDivider = RCC_HCLK_DIV2;
  RCC_ClkInitStruct.APB2CLKDivider = RCC_HCLK_DIV1;

  if (HAL_RCC_ClockConfig(&RCC_ClkInitStruct, FLASH_LATENCY_2) != HAL_OK)
  {
    Error_Handler();
  }
  PeriphClkInit.PeriphClockSelection = RCC_PERIPHCLK_HRTIM1|RCC_PERIPHCLK_USART1;
  PeriphClkInit.Usart1ClockSelection = RCC_USART1CLKSOURCE_PCLK1;
  PeriphClkInit.Hrtim1ClockSelection = RCC_HRTIM1CLK_PLLCLK;
  if (HAL_RCCEx_PeriphCLKConfig(&PeriphClkInit) != HAL_OK)
  {
    Error_Handler();
  }
}

/* USER CODE BEGIN 4 */

void ChangeOPFrequency(float frequency,op_values *current_op){ //in kHz
	if (frequency>MAX_FREQUENCY){
		frequency=MAX_FREQUENCY;
	}
	if (frequency<MIN_FREQUENCY){
		frequency=MIN_FREQUENCY;
	}
	float aux_var;
	current_op->op_frequency=frequency;
	current_op->op_period=1/current_op->op_frequency;
	aux_var=current_op->op_period*1000000000;
	aux_var=aux_var/HRTIM_RESOLUTION;
	current_op->op_period_in_ticks= (uint32_t) aux_var;
	current_op->mod_period_in_ticks= current_op->op_period_in_ticks-TICKS_DELTA_MODULATION;
	__HAL_HRTIM_SETPERIOD(&hhrtim1,0x2, current_op->op_period_in_ticks); //set timer C period
}

void ModulateFrequency(op_values *current_op){
	HAL_GPIO_TogglePin(GPIOB,GPIO_PIN_9);
	static bool iteration = true;
	if (iteration){
	__HAL_HRTIM_SETPERIOD(&hhrtim1,0x2, current_op->mod_period_in_ticks);
	}else{
	__HAL_HRTIM_SETPERIOD(&hhrtim1,0x2, current_op->op_period_in_ticks);
	}
	iteration=!iteration;
}

void StopInverter(op_values *current_op){
	HAL_HRTIM_WaveformOutputStop(&hhrtim1, HRTIM_OUTPUT_TC1|HRTIM_OUTPUT_TC2);
	HAL_HRTIM_WaveformCountStop(&hhrtim1, HRTIM_TIMERID_TIMER_C);
	HAL_HRTIM_WaveformCountStop_IT(&hhrtim1, HRTIM_TIMERID_TIMER_C);
	current_op->gate_signals=false;
	//HAL_HRTIM_WaveformSetOutputLevel
	//pozn. po vypnutí dojde k tomu, že výstupy zustanou v neaktivním stavu - pro output 1 to je LOW, pro output 2 to je HIGH
	// asi by stacilo dát SD na driveru do off - na LO i HI strane driveru bude 0.
}
void StartInverter(op_values *current_op){
	HAL_HRTIM_WaveformOutputStart(&hhrtim1, HRTIM_OUTPUT_TC1|HRTIM_OUTPUT_TC2);
	HAL_HRTIM_WaveformCountStart(&hhrtim1, HRTIM_TIMERID_TIMER_C);
	HAL_HRTIM_WaveformCountStart_IT(&hhrtim1, HRTIM_TIMERID_TIMER_C);
	current_op->gate_signals=true;
}

void StartDemodulator(void){
  HAL_HRTIM_WaveformCountStart(&hhrtim1, HRTIM_TIMERID_TIMER_A);
	HAL_HRTIM_WaveformCountStart_IT(&hhrtim1, HRTIM_TIMERID_TIMER_A);
}

void AnalogPing(op_values *current_op){
	HAL_GPIO_WritePin(GPIOB,GPIO_PIN_15,GPIO_PIN_RESET);
	StopInverter(current_op);
	ChangeOPFrequency(ANALOG_PING_FREQUENCY,current_op);
	StartInverter(current_op);
	HAL_Delay(10);
	analog_ping_counter = 0;
	analog_ping_done=false;
	HAL_GPIO_WritePin(GPIOB,GPIO_PIN_15,GPIO_PIN_SET);
	HAL_TIM_Base_Start_IT(&htim6);
	}

void HAL_ADC_ConvCpltCallback(ADC_HandleTypeDef* hadc) {
   if(hadc) MEAS_ADC1_eval(1);
}

void HAL_ADC_ConvHalfCpltCallback(ADC_HandleTypeDef* hadc) {
   if(hadc) MEAS_ADC1_eval(0);
}

/* USER CODE END 4 */

void Error_Handler(void)
{
  __disable_irq();
  while (1)
  {
  }
}
